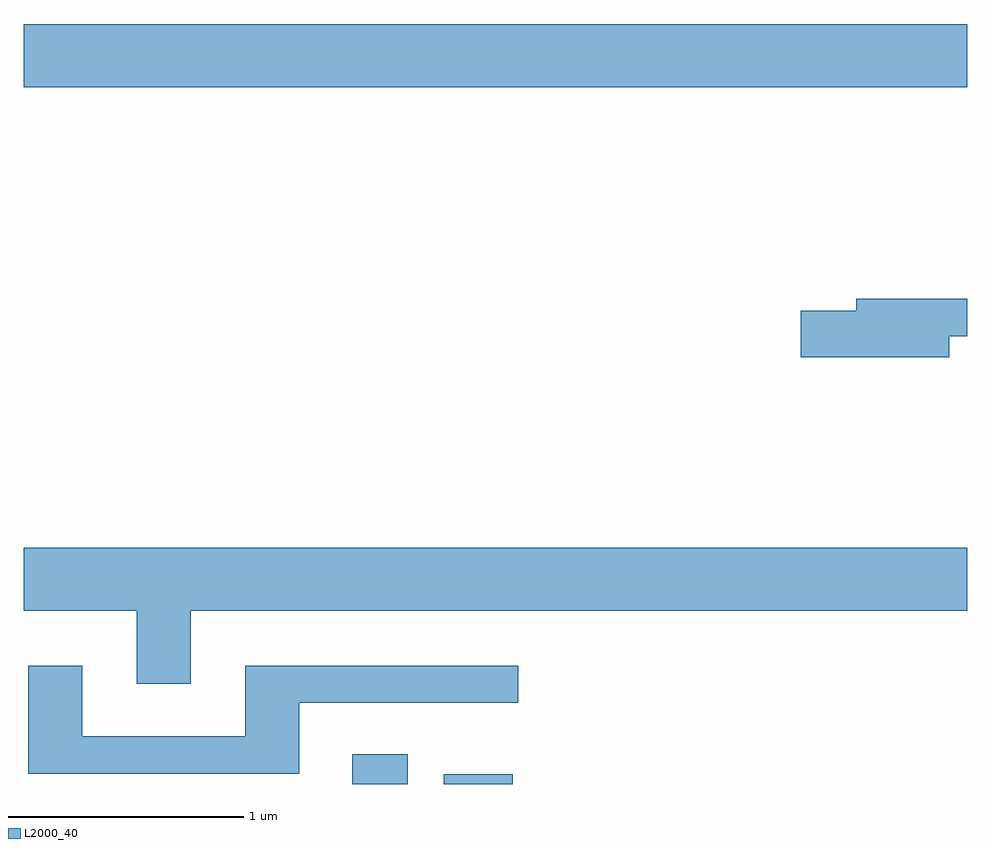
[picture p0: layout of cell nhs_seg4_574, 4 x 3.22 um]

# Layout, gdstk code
import gdstk
lib = gdstk.Library(unit=1e-6, precision=1e-09)
def R(c, l, rs):  # rectangles x0, y0, x1, y1
    for r in rs: c.add(gdstk.rectangle(r[:2], r[2:], *l))
def P(c, l, *ps):  # polygons
    for p in ps: c.add(gdstk.Polygon(p, *l))
L2000_40 = (2000, 40)

nhs_seg4_574 = lib.new_cell('nhs_seg4_574')
R(nhs_seg4_574, L2000_40, [(203.003,1313.982,203.239,1314.109), (203.391,1313.982,203.684,1314.024), (201.611,1316.936,205.611,1317.204)])
P(nhs_seg4_574, L2000_40, [(205.534,1315.881),(205.611,1315.881),(205.611,1316.039),(205.141,1316.039),(205.141,1315.989),(204.906,1315.989),(204.906,1315.791),(205.534,1315.791)],
  [(202.319,1314.716),(205.611,1314.716),(205.611,1314.984),(201.611,1314.984),(201.611,1314.716),(202.091,1314.716),(202.091,1314.406),(202.319,1314.406)],
  [(202.779,1314.326),(203.708,1314.326),(203.708,1314.484),(202.551,1314.484),(202.551,1314.184),(201.859,1314.184),(201.859,1314.484),(201.631,1314.484),(201.631,1314.026),(202.779,1314.026)])

lib.write_gds('nhs_seg4_574.gds')
